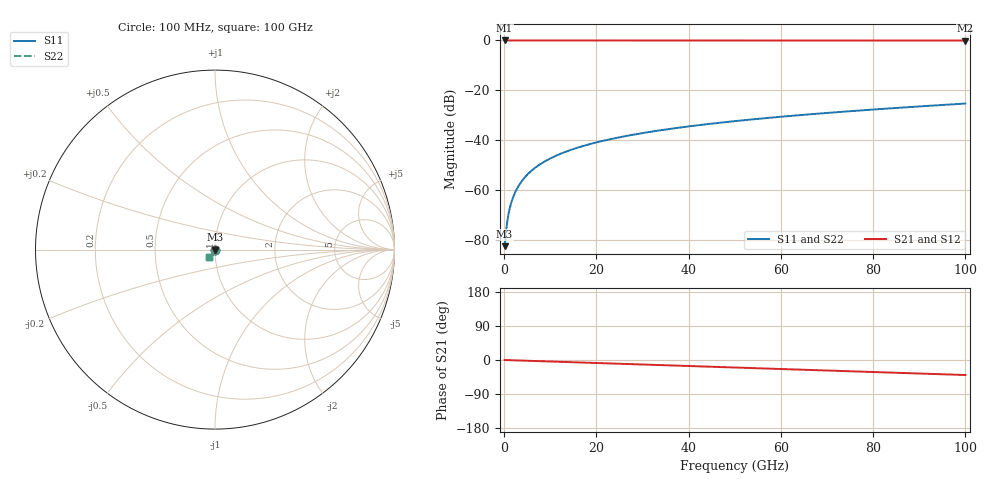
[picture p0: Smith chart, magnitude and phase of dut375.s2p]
! Touchstone file exported from HFSS 2026.1.0
!  File:  C:/ffzhzh/LocalFiles/Ansys_Project_Files/temp_train_TSV_375_1783510429_41296.aedt
!  Generated:  07:35:00 PM Jul  8, 2026
!  Design:  TSV
!  Project:  temp_train_TSV_375_1783510429_41296
! Variables:
!  h_bsmrdl = 2um
!  h_ox = 20um
!  h_rdl = 5um
!  h_sub = 77.52um
!  h_tmrdl = 5um
!  h_tsv = 77.52um
!  h_via = 3um
!  l_bsmrdl = 300um
!  l_sub = 428.06um
!  l_tmrdl = 200um
!  m_sub = 200um
!  pitch = 52.37um
!  r_tsv = 14.03um
!  s_tmrdl = 10um
!  w_bsmrdl = 18um
!  w_sub = 500um
!  w_tmrdl = 12um
!  x_tsv_center1 = 206um
!  x_tsv_center2 = 524um
!  x_tsv_center3 = 736um
!  x_tsv_center4 = 1054um
!  x_tsv_center5 = 1266um
!  x_tsv_center6 = 1584um
# GHz S MA R 50.000000
! Terminal data exported
! Port[1] = TSV1_1_T1
! Port[2] = TSV1_1_T2
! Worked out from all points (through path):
!   1000 points, 100 MHz to 100 GHz, reference 50 ohm
!   highest |S21| = 0.00 dB at 100 MHz (marker M1); lowest = 0.0 dB at 100 GHz (marker M2)
!   group delay of S21, straight-line fit = 1.1 ps
!   lowest |S11| = -82.3 dB at 100 MHz (marker M3), VSWR 1.00, Z = 50 - j0.00053 ohm
!   |S11| at or under -10 dB: start of sweep to end of sweep
!   |S22| runs from -82.3 to -25.3 dB; largest |S21 - S12| = 3e-15
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0.1  7.643e-05 -4.0  0.9999 -0.0  0.9999 -0.0  7.643e-05 -4.0
! Gamma 0 0 0 0
! Port Impedance 50 0 50 0
0.3  0.0001152 -16.7  0.9999 -0.1  0.9999 -0.1  0.0001152 -16.7
0.5  0.0001756 -30.3  0.9998 -0.2  0.9998 -0.2  0.0001756 -30.3
0.9  0.0003189 -48.5  0.9998 -0.4  0.9998 -0.4  0.0003189 -48.5
1.1  0.0003946 -54.0  0.9998 -0.4  0.9998 -0.4  0.0003946 -54.0
1.4  0.0005108 -59.7  0.9997 -0.6  0.9997 -0.6  0.0005108 -59.7
1.8  0.00067 -64.7  0.9997 -0.7  0.9997 -0.7  0.00067 -64.7
2.3  0.0008751 -68.7  0.9997 -0.9  0.9997 -0.9  0.0008751 -68.7
2.9  0.001129 -71.8  0.9996 -1.2  0.9996 -1.2  0.001129 -71.8
3.6  0.001433 -74.5  0.9996 -1.4  0.9996 -1.4  0.001433 -74.5
4.4  0.001788 -76.7  0.9995 -1.8  0.9995 -1.8  0.001788 -76.7
5.4  0.002237 -78.9  0.9995 -2.1  0.9995 -2.1  0.002237 -78.9
6.5  0.002737 -80.7  0.9994 -2.6  0.9994 -2.6  0.002737 -80.7
9.2  0.003978 -83.9  0.9993 -3.6  0.9993 -3.6  0.003979 -83.9
12.6  0.005573 -86.8  0.9992 -5.0  0.9992 -5.0  0.005573 -86.8
16.8  0.007568 -89.7  0.999 -6.6  0.999 -6.6  0.007568 -89.7
24.1  0.01109 -93.9  0.9988 -9.5  0.9988 -9.5  0.01109 -93.8
33.4  0.0157 -98.5  0.9986 -13.2  0.9986 -13.2  0.0157 -98.5
50.1  0.02434 -106.2  0.9981 -19.8  0.9981 -19.8  0.02434 -106.1
66.7  0.03353 -113.4  0.9975 -26.3  0.9975 -26.3  0.03354 -113.4
83.4  0.0436 -120.6  0.9968 -33.0  0.9968 -33.0  0.0436 -120.6
100  0.05464 -127.8  0.9958 -39.6  0.9958 -39.6  0.05464 -127.8
